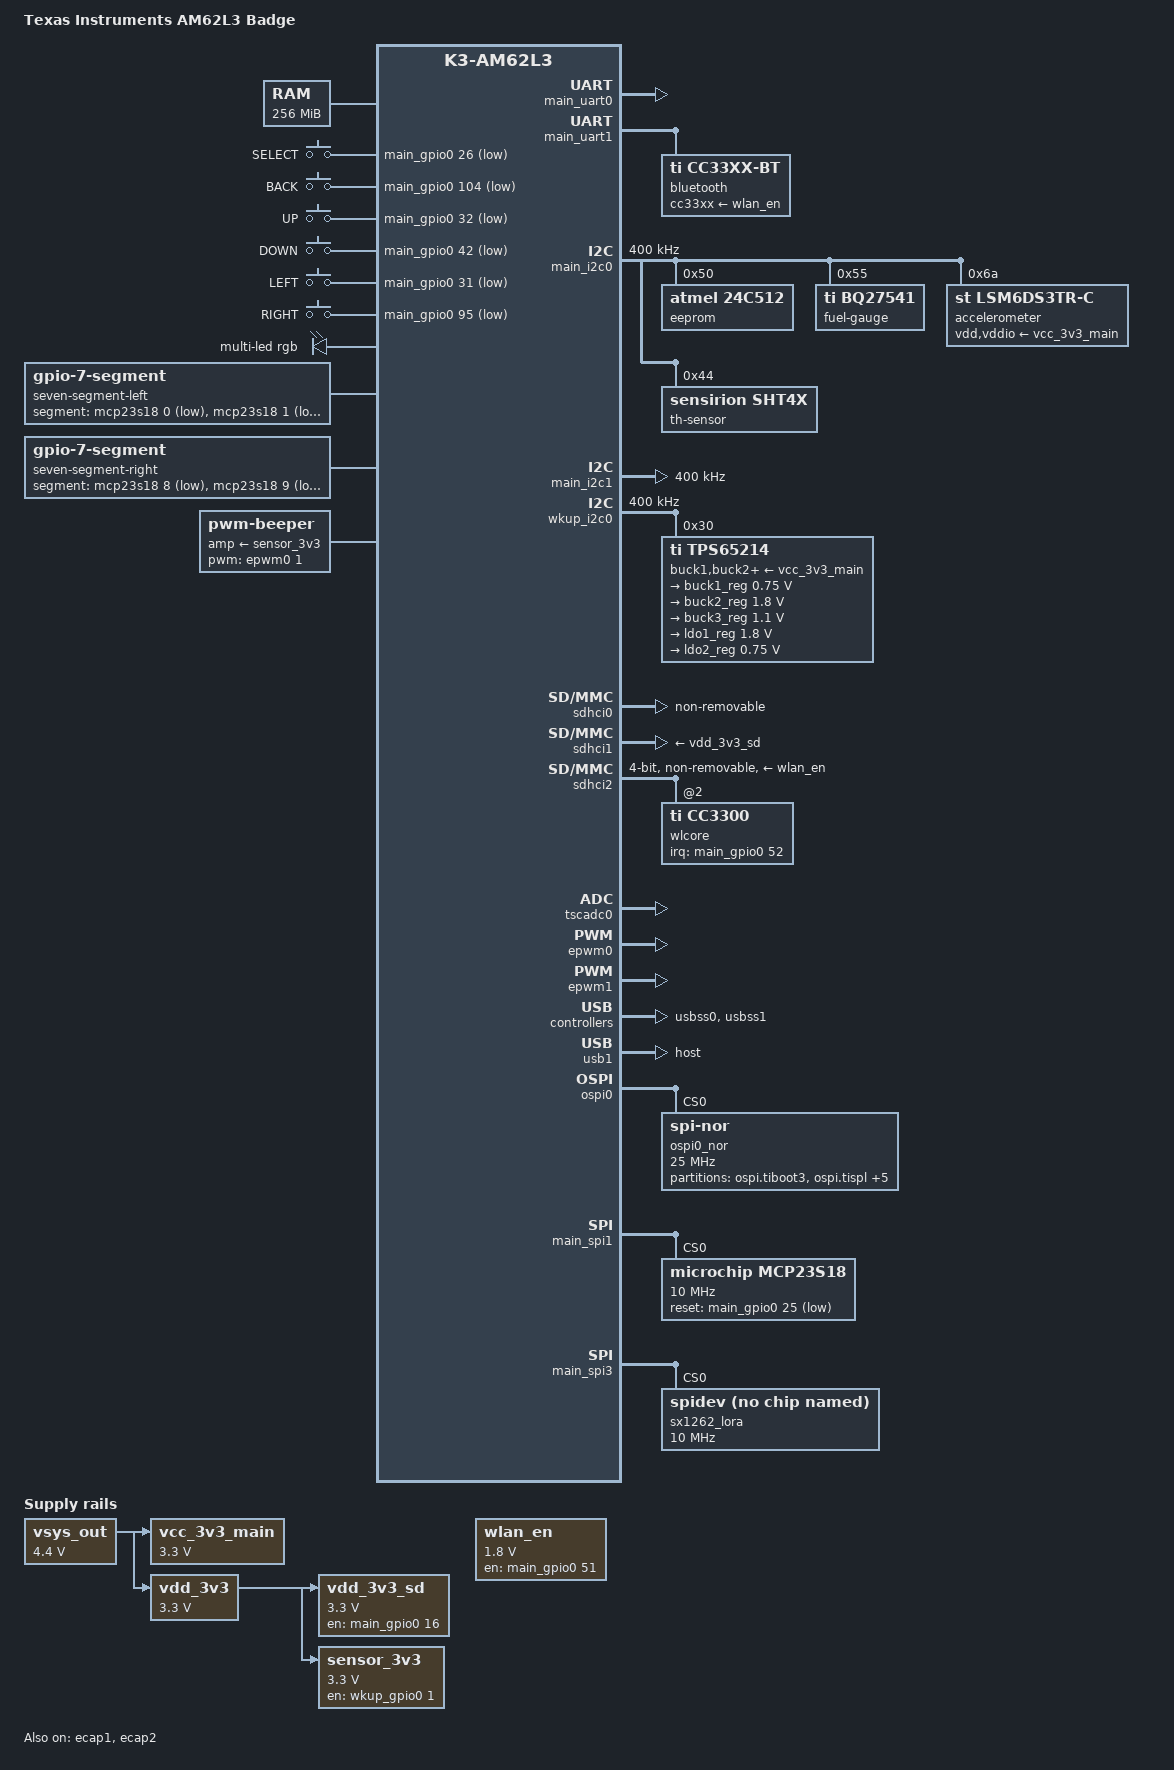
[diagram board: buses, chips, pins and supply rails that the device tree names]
// SPDX-License-Identifier: GPL-2.0-only or MIT
/*
 * Device Tree file for the AM62L3 Badge
 *
 * Copyright (C) 2025 Texas Instruments Incorporated - https://www.ti.com/
 */

/dts-v1/;

#include <dt-bindings/gpio/gpio.h>
#include <dt-bindings/input/input.h>
#include <dt-bindings/leds/common.h>
#include <dt-bindings/net/ti-dp83867.h>
#include "k3-am62l3.dtsi"
#include "k3-pinctrl.h"

/ {
	compatible = "ti,am62l3-badge", "ti,am62l3";
	model = "Texas Instruments AM62L3 Badge";

	chosen {
		stdout-path = &main_uart0;
		base_dtb = "k3-am62l3-badge.dts";
	};

	aliases {
		gpio0 = &main_gpio0;
		i2c0 = &main_i2c0;
		i2c1 = &main_i2c1;
		mmc0 = &sdhci0;
		mmc1 = &sdhci1;
		mmc2 = &sdhci2;
		serial3 = &main_uart1;
		usb0 = &usb0;
		usb1 = &usb1;
	};

	memory@80000000 {
		/* 256MB */
		reg = <0x00000000 0x80000000 0x00000000 0x10000000>;
		device_type = "memory";
		bootph-all;
	};

	gpio_keys: gpio-keys {
		compatible = "gpio-keys";
		autorepeat;
		pinctrl-names = "default";
		pinctrl-0 = <&main_usr_button_default_pins>;

		button-select {
			label = "SELECT";
			linux,code = <KEY_SELECT>;
			gpios = <&main_gpio0 26 GPIO_ACTIVE_LOW>;
		};

		button-back {
			label = "BACK";
			linux,code = <KEY_BACK>;
			gpios = <&main_gpio0 104 GPIO_ACTIVE_LOW>;
		};

		button-up {
			label = "UP";
			linux,code = <KEY_UP>;
			gpios = <&main_gpio0 32 GPIO_ACTIVE_LOW>;
		};

		button-down {
			label = "DOWN";
			linux,code = <KEY_DOWN>;
			gpios = <&main_gpio0 42 GPIO_ACTIVE_LOW>;
		};

		button-left {
			label = "LEFT";
			linux,code = <KEY_LEFT>;
			gpios = <&main_gpio0 31 GPIO_ACTIVE_LOW>;
		};

		button-right {
			label = "RIGHT";
			linux,code = <KEY_RIGHT>;
			gpios = <&main_gpio0 95 GPIO_ACTIVE_LOW>;
		};
	};

	multicolor-led {
		compatible = "pwm-leds-multicolor";
		pinctrl-names = "default";
		pinctrl-0 = <&rgb_led_default_pins>;

		multi-led {
			color = <LED_COLOR_ID_RGB>;
			max-brightness = <255>;

			led-red {
				pwms = <&ecap2 0 255 0>;
				color = <LED_COLOR_ID_RED>;
			};

			led-green {
				pwms = <&ecap1 0 255 0>;
				color = <LED_COLOR_ID_GREEN>;
			};

			led-blue {
				pwms = <&epwm1 1 255 0>;
				color = <LED_COLOR_ID_BLUE>;
			};
		};
	};

	seven-segment-left {
		compatible = "gpio-7-segment";
		segment-gpios = <&mcp23s18 0 GPIO_ACTIVE_LOW>,
				<&mcp23s18 1 GPIO_ACTIVE_LOW>,
				<&mcp23s18 2 GPIO_ACTIVE_LOW>,
				<&mcp23s18 3 GPIO_ACTIVE_LOW>,
				<&mcp23s18 4 GPIO_ACTIVE_LOW>,
				<&mcp23s18 5 GPIO_ACTIVE_LOW>,
				<&mcp23s18 6 GPIO_ACTIVE_LOW>,
				<&mcp23s18 7 GPIO_ACTIVE_LOW>;
	};

	seven-segment-right {
		compatible = "gpio-7-segment";
		segment-gpios = <&mcp23s18 8 GPIO_ACTIVE_LOW>,
				<&mcp23s18 9 GPIO_ACTIVE_LOW>,
				<&mcp23s18 10 GPIO_ACTIVE_LOW>,
				<&mcp23s18 11 GPIO_ACTIVE_LOW>,
				<&mcp23s18 12 GPIO_ACTIVE_LOW>,
				<&mcp23s18 13 GPIO_ACTIVE_LOW>,
				<&mcp23s18 14 GPIO_ACTIVE_LOW>,
				<&mcp23s18 15 GPIO_ACTIVE_LOW>;
	};

	pwm-beeper {
		compatible = "pwm-beeper";
		pinctrl-names = "default";
		pinctrl-0 = <&pwm_beeper_default_pins>;
		pwms = <&epwm0 1 1000000 0>;
		amp-supply = <&sensor_3v3>;
	};

	vsys_out: regulator-0 {
		/* output of BQ24070 */
		compatible = "regulator-fixed";
		regulator-name = "VSYS_OUT";
		regulator-min-microvolt = <4400000>;
		regulator-max-microvolt = <4400000>;
		regulator-always-on;
		regulator-boot-on;
		bootph-all;
	};

	vcc_3v3_main: regulator-1 {
		/* output of TPS62A06 */
		compatible = "regulator-fixed";
		regulator-name = "VCC_3V3_MAIN";
		regulator-min-microvolt = <3300000>;
		regulator-max-microvolt = <3300000>;
		vin-supply = <&vsys_out>;
		regulator-always-on;
		regulator-boot-on;
		bootph-all;
	};

	vdd_3v3: regulator-2 {
		/* output of TPS22965 */
		compatible = "regulator-fixed";
		regulator-name = "VDD_3V3";
		regulator-min-microvolt = <3300000>;
		regulator-max-microvolt = <3300000>;
		vin-supply = <&vsys_out>;
		regulator-always-on;
		regulator-boot-on;
		bootph-all;
	};

	vdd_3v3_sd: regulator-3 {
		/* TPS22918DBVR */
		compatible = "regulator-fixed";
		regulator-name = "VDD_3V3_SD";
		regulator-min-microvolt = <3300000>;
		regulator-max-microvolt = <3300000>;
		vin-supply = <&vdd_3v3>;
		regulator-boot-on;
		enable-active-high;
		gpio = <&main_gpio0 16 GPIO_ACTIVE_HIGH>;
		pinctrl-names = "default";
		pinctrl-0 = <&vdd_3v3_sd_ena_default_pins>;
		bootph-all;
	};

	sensor_3v3: regulator-4 {
		/* TPS22918DBVR */
		compatible = "regulator-fixed";
		regulator-name = "Sensor_3V3";
		regulator-min-microvolt = <3300000>;
		regulator-max-microvolt = <3300000>;
		vin-supply = <&vdd_3v3>;
		regulator-boot-on;
		regulator-always-on;
		enable-active-high;
		gpio = <&wkup_gpio0 1 GPIO_ACTIVE_HIGH>;
		pinctrl-names = "default";
		pinctrl-0 = <&sensor_3v3_ena_default_pins>;
		bootph-all;
	};

	wlan_en: regulator-5 {
		compatible = "regulator-fixed";
		regulator-name = "wlan_en";
		regulator-min-microvolt = <1800000>;
		regulator-max-microvolt = <1800000>;
		enable-active-high;
		gpios = <&main_gpio0 51 GPIO_ACTIVE_HIGH>;
		pinctrl-names = "default";
		pinctrl-0 = <&wlan_en_pins_default>;
	};
};

&pmx0 {
	main_uart0_default_pins: main-uart0-default-pins {
		pinctrl-single,pins = <
			AM62LX_IOPAD(0x01b8, PIN_OUTPUT, 0) /* (C13) UART0_TXD */
			AM62LX_IOPAD(0x01b4, PIN_INPUT, 0) /* (D13) UART0_RXD */
		>;
		bootph-all;
	};

	main_uart0_wakeup_pins: main-uart0-wakeup-pins {
		pinctrl-single,pins = <
			AM62LX_IOPAD(0x01b8, PIN_OUTPUT, 0) /* (C13) UART0_TXD */
			AM62LX_IOPAD(0x01b4, PIN_INPUT | PIN_WKUP_EN, 0) /* (D13) UART0_RXD */
		>;
	};

	main_uart1_default_pins: main-uart1-default-pins {
		pinctrl-single,pins = <
			AM62LX_IOPAD(0x019c, PIN_OUTPUT, 2) /* (A12) UART1_TXD */
			AM62LX_IOPAD(0x0198, PIN_INPUT, 2) /* (C11) UART1_RXD */
			AM62LX_IOPAD(0x0180, PIN_INPUT, 2) /* (A8) UART1_CTS */
			AM62LX_IOPAD(0x0184, PIN_OUTPUT, 2) /* (B10) UART1_RTS */
		>;
	};

	main_usr_button_default_pins: main-usr-button-default-pins {
		pinctrl-single,pins = <
			AM62LX_IOPAD(0x00a4, PIN_INPUT, 7) /* (H18) GPMC0_AD11.GPIO0_26 | SELECT */
			AM62LX_IOPAD(0x01e4, PIN_INPUT, 7) /* (D16) EXT_REFCLK1.GPIO0_104 | BACK*/
			AM62LX_IOPAD(0x00c0, PIN_INPUT, 7) /* (N19) GPMC0_ADVn_ALE.GPIO0_32 | UP */
			AM62LX_IOPAD(0x00e8, PIN_INPUT, 7) /* (L19) GPMC0_CSn1.GPIO0_42 | DOWN */
			AM62LX_IOPAD(0x00b8, PIN_INPUT, 7) /* (L21) GPMC0_CLK.GPIO0_31 | LEFT */
			AM62LX_IOPAD(0x01c0, PIN_INPUT, 7) /* (B13) UART0_RTSn.GPIO0_95 | RIGHT */
		>;
	};

	main_i2c0_default_pins: main-i2c0-default-pins {
		pinctrl-single,pins = <
			AM62LX_IOPAD(0x01cc, PIN_INPUT_PULLUP, 0) /* (B7) I2C0_SCL */
			AM62LX_IOPAD(0x01d0, PIN_INPUT_PULLUP, 0) /* (A7) I2C0_SDA */
		>;
	};

	main_i2c1_default_pins: main-i2c1-default-pins {
		pinctrl-single,pins = <
			AM62LX_IOPAD(0x01d4, PIN_INPUT_PULLUP, 0) /* (D7) I2C1_SCL */
			AM62LX_IOPAD(0x01d8, PIN_INPUT_PULLUP, 0) /* (A6) I2C1_SDA */
		>;
	};

	vdd_3v3_sd_ena_default_pins: vdd-3v3-sd-ena-default-pins {
		pinctrl-single,pins = <
			AM62LX_IOPAD(0x07c, PIN_OUTPUT, 7) /* (L23) GPMC0_AD1.GPIO0_16 */
		>;
		bootph-all;
	};

	sensor_3v3_ena_default_pins: sensor-3v3-ena-default-pins {
		pinctrl-single,pins = <
			AM62LX_IOPAD(0x004, PIN_OUTPUT, 7) /* (AA23) WKUP_UART0_TXD.WKUP_GPIO0_1 */
		>;
	};

	main_mmc0_default_pins: main-mmc0-default-pins {
		pinctrl-single,pins = <
			AM62LX_IOPAD(0x0214, PIN_INPUT, 0) /* (D2) MMC0_CMD */
			AM62LX_IOPAD(0x020c, PIN_OUTPUT, 0) /* (B2) MMC0_CLK */
			AM62LX_IOPAD(0x0208, PIN_INPUT, 0) /* (D3) MMC0_DAT0 */
			AM62LX_IOPAD(0x0204, PIN_INPUT_PULLUP, 0) /* (D4) MMC0_DAT1 */
			AM62LX_IOPAD(0x0200, PIN_INPUT_PULLUP, 0) /* (C1) MMC0_DAT2 */
			AM62LX_IOPAD(0x01fc, PIN_INPUT_PULLUP, 0) /* (C2) MMC0_DAT3 */
			AM62LX_IOPAD(0x01f8, PIN_INPUT_PULLUP, 0) /* (C4) MMC0_DAT4 */
			AM62LX_IOPAD(0x01f4, PIN_INPUT_PULLUP, 0) /* (B3) MMC0_DAT5 */
			AM62LX_IOPAD(0x01f0, PIN_INPUT_PULLUP, 0) /* (A3) MMC0_DAT6 */
			AM62LX_IOPAD(0x01ec, PIN_INPUT_PULLUP, 0) /* (B4) MMC0_DAT7 */
		>;
		bootph-all;
	};

	main_mmc1_default_pins: main-mmc1-default-pins {
		pinctrl-single,pins = <
			AM62LX_IOPAD(0x0230, PIN_INPUT, 0) /* (Y3) MMC1_CMD */
			AM62LX_IOPAD(0x0228, PIN_OUTPUT, 0) /* (Y2) MMC1_CLK */
			AM62LX_IOPAD(0x0224, PIN_INPUT, 0) /* (AA1) MMC1_DAT0 */
			AM62LX_IOPAD(0x0220, PIN_INPUT, 0) /* (Y4) MMC1_DAT1 */
			AM62LX_IOPAD(0x021c, PIN_INPUT, 0) /* (AA2) MMC1_DAT2 */
			AM62LX_IOPAD(0x0218, PIN_INPUT, 0) /* (AB2) MMC1_DAT3 */
			AM62LX_IOPAD(0x0234, PIN_INPUT, 0) /* (B6) MMC1_SDCD */
		>;
		bootph-all;
	};

	main_mmc2_pins_default: main-mmc2-default-pins {
		pinctrl-single,pins = <
			AM62LX_IOPAD(0x010c, PIN_INPUT, 0) /* (U23) MMC2_CMD */
			AM62LX_IOPAD(0x0104, PIN_OUTPUT, 0) /* (R23) MMC2_CLK */
			AM62LX_IOPAD(0x0108, PIN_INPUT, 0) /* () MMC2_CLKLB */
			AM62LX_IOPAD(0x0100, PIN_INPUT, 0) /* (U22) MMC2_DAT0 */
			AM62LX_IOPAD(0x00fc, PIN_INPUT, 0) /* (T22) MMC2_DAT1 */
			AM62LX_IOPAD(0x00f8, PIN_INPUT, 0) /* (T23) MMC2_DAT2 */
			AM62LX_IOPAD(0x00f4, PIN_INPUT, 0) /* (R22) MMC2_DAT3 */
		>;
	};

	wlan_en_pins_default: wlan-en-pins-default {
		pinctrl-single,pins = <
			AM62LX_IOPAD(0x0110, PIN_OUTPUT, 7) /* (T20) MMC2_SDCD.GPIO0_51 */
		>;
	};

	main_wlirq_pins_default: main-wlirq-pins-default {
		pinctrl-single,pins = <
			AM62LX_IOPAD(0x0114, PIN_INPUT, 7) /* (T21) MMC2_SDWP.GPIO0_52 */
		>;
	};

	main_usb1_default_pins: main-usb1-default-pins {
		pinctrl-single,pins = <
			AM62LX_IOPAD(0x0248, PIN_INPUT | PIN_DS_PULLUD_ENABLE | PIN_DS_PULL_UP, 0) /* (A5) USB1_DRVVBUS */
		>;
	};

	pwm_beeper_default_pins: pwm-beeper-default-pins {
		pinctrl-single,pins = <
			AM62LX_IOPAD(0x00b0, PIN_OUTPUT, 4) /* (F22) GPMC0_AD14.EHRPWM0_B */
		>;
	};

	pmic_irq_default_pins: pmic-irq-default-pins {
		pinctrl-single,pins = <
			AM62LX_IOPAD(0x01e8, PIN_INPUT, 0) /* (C8) EXTINTn */
		>;
	};

	wkup_i2c0_default_pins: wkup-i2c0-default-pins {
		pinctrl-single,pins = <
			AM62LX_IOPAD(0x0010, PIN_INPUT_PULLUP, 0) /* (AB22) WKUP_I2C0_SCL */
			AM62LX_IOPAD(0x0014, PIN_INPUT_PULLUP, 0) /* (AA22) WKUP_I2C0_SDA */
		>;
	};

	rgb_led_default_pins: rgb-led-default-pins {
		pinctrl-single,pins = <
			AM62LX_IOPAD(0x0190, PIN_OUTPUT, 2) /* (A11) MCASP0_ACLKX.ECAP2_IN_APWM_OUT */
			AM62LX_IOPAD(0x0188, PIN_OUTPUT, 2) /* (A9) MCASP0_AXR1.ECAP1_IN_APWM_OUT */
			AM62LX_IOPAD(0x018c, PIN_OUTPUT, 5) /* (B9) MCASP0_AXR0.EHRPWM1_B */
		>;
	};

	ospi0_pins_default: ospi0-default-pins {
		bootph-all;
		pinctrl-single,pins = <
			AM62LX_IOPAD(0x003c, PIN_OUTPUT, 0) /* (D22) OSPI0_CLK */
			AM62LX_IOPAD(0x0068, PIN_OUTPUT, 0) /* (C20) OSPI0_CSn0 */
			AM62LX_IOPAD(0x0074, PIN_OUTPUT, 0) /* (C23) OSPI0_CSn3 */
			AM62LX_IOPAD(0x0048, PIN_INPUT, 0) /* (C22) OSPI0_D0 */
			AM62LX_IOPAD(0x004c, PIN_INPUT, 0) /* (D21) OSPI0_D1 */
			AM62LX_IOPAD(0x0050, PIN_INPUT, 0) /* (E23) OSPI0_D2 */
			AM62LX_IOPAD(0x0054, PIN_INPUT, 0) /* (D23) OSPI0_D3 */
			AM62LX_IOPAD(0x0058, PIN_INPUT, 0) /* (F21) OSPI0_D4 */
			AM62LX_IOPAD(0x005c, PIN_INPUT, 0) /* (F19) OSPI0_D5 */
			AM62LX_IOPAD(0x0060, PIN_INPUT, 0) /* (G20) OSPI0_D6 */
			AM62LX_IOPAD(0x0064, PIN_INPUT, 0) /* (F20) OSPI0_D7 */
			AM62LX_IOPAD(0x0044, PIN_INPUT, 0) /* (E22) OSPI0_DQS */
			AM62LX_IOPAD(0x0040, PIN_INPUT, 0) /* (E18) OSPI0_LBCLKO */
		>;
	};

	main_spi1_pins_default: main-spi1-default-pins {
		pinctrl-single,pins = <
			AM62LX_IOPAD(0x008c, PIN_OUTPUT, 4) /* (H22) GPMC0_AD5.SPI1_CLK */
			AM62LX_IOPAD(0x0088, PIN_OUTPUT, 4) /* (K23) GPMC0_AD4.SPI1_CS0 */
			AM62LX_IOPAD(0x0080, PIN_INPUT, 4) /* (K22) GPMC0_AD2.SPI1_D0 */
			AM62LX_IOPAD(0x0084, PIN_OUTPUT, 4) /* (J23) GPMC0_AD3.SPI1_D1 */
		>;
	};

	main_spi3_pins_default: main-spi3-default-pins {
		pinctrl-single,pins = <
			AM62LX_IOPAD(0x00d0, PIN_OUTPUT, 5) /* (P22) GPMC0_BE1n.SPI3_CLK */
			AM62LX_IOPAD(0x00cc, PIN_OUTPUT, 5) /* (P23) GPMC0_BE0n_CLE.SPI3_CS0 */
			AM62LX_IOPAD(0x00d4, PIN_INPUT, 5) /* (N23) GPMC0_WAIT0.SPI3_D0 */
			AM62LX_IOPAD(0x00d8, PIN_OUTPUT, 5) /* (N22) GPMC0_WAIT1.SPI3_D1 */
		>;
	};

	mcp23s18_reset_pins_default: mcp23s18-reset-default-pins {
		pinctrl-single,pins = <
			AM62LX_IOPAD(0x00a0, PIN_OUTPUT, 4) /* (H21) GPMC0_AD10.GPIO0_25 */
		>;
	};

	lora_control_pins_default: lora-control-default-pins {
		pinctrl-single,pins = <
			AM62LX_IOPAD(0x00c8, PIN_OUTPUT, 7) /* (M19) GPMC0_WEn.GPIO0_34 | RESET */
			AM62LX_IOPAD(0x00e4, PIN_OUTPUT, 7) /* (L20) GPMC0_CSn0.GPIO0_41 | RF SW */
			AM62LX_IOPAD(0x01a4, PIN_INPUT, 7) /* (D11) SPI0_CS1.GPIO0_88 | BUSY */
			AM62LX_IOPAD(0x01bc, PIN_INPUT, 7) /* (B14) UART0_CTSn.GPIO0_94 | DIO (IRQ) */
		>;
	};
};

&main_uart0 {
	status = "okay";
	pinctrl-names = "default", "wakeup";
	pinctrl-0 = <&main_uart0_default_pins>;
	pinctrl-1 = <&main_uart0_wakeup_pins>;
	wakeup-source  = <&system_deep_sleep>;
	bootph-all;
};

&main_uart1 {
	status = "okay";
	pinctrl-names = "default";
	pinctrl-0 = <&main_uart1_default_pins>;
	bootph-all;

	bluetooth {
		compatible = "ti,cc33xx-bt";
		cc33xx-supply = <&wlan_en>;
		max-speed = <115200>;
	};
};

&main_i2c0 {
	status = "okay";
	pinctrl-names = "default";
	pinctrl-0 = <&main_i2c0_default_pins>;
	clock-frequency = <400000>;
	bootph-all;

	/* EEPROM */
	eeprom@50 {
		/* FT24C32A-ELRT */
		compatible = "atmel,24c512";
		reg = <0x50>;
	};

	/* Fuel Gauge */
	/* Todo: Add BQ27220 support */
	fuel-gauge@55 {
		compatible = "ti,bq27541";
		reg = <0x55>;
	};

	/* IMU Sensor */
	accelerometer@6a {
		compatible = "st,lsm6ds3tr-c";
		reg = <0x6a>;
		vdd-supply = <&vcc_3v3_main>;
		vddio-supply = <&vcc_3v3_main>;
	};

	/* T&H Sensor */
	th-sensor@44 {
		compatible = "sensirion,sht4x";
		reg = <0x44>;
	};
};

&main_i2c1 {
	pinctrl-names = "default";
	pinctrl-0 = <&main_i2c1_default_pins>;
	clock-frequency = <400000>;
	bootph-all;
};

&wkup_i2c0 {
	clock-frequency = <400000>;
	pinctrl-names = "default";
	pinctrl-0 = <&wkup_i2c0_default_pins>;
	status = "okay";

	tps65214: pmic@30 {
		compatible = "ti,tps65214";
		reg = <0x30>;
		interrupt-parent = <&gic500>;
		interrupts = <GIC_SPI 224 IRQ_TYPE_LEVEL_HIGH>;
		pinctrl-names = "default";
		pinctrl-0 = <&pmic_irq_default_pins>;
		ti,power-button;

		buck1-supply = <&vcc_3v3_main>;
		buck2-supply = <&vcc_3v3_main>;
		buck3-supply = <&vcc_3v3_main>;
		ldo1-supply = <&vcc_3v3_main>;
		ldo2-supply = <&vcc_3v3_main>;

		regulators {
			buck1_reg: buck1 {
				regulator-name = "VDD_CORE";
				regulator-min-microvolt = <750000>;
				regulator-max-microvolt = <750000>;
				regulator-always-on;
				regulator-boot-on;
			};

			buck2_reg: buck2 {
				regulator-name = "VDD_1V8";
				regulator-min-microvolt = <1800000>;
				regulator-max-microvolt = <1800000>;
				regulator-always-on;
				regulator-boot-on;
			};

			buck3_reg: buck3 {
				regulator-name = "VDD_LPDDR4";
				regulator-min-microvolt = <1100000>;
				regulator-max-microvolt = <1100000>;
				regulator-always-on;
				regulator-boot-on;
			};

			ldo1_reg: ldo1 {
				regulator-name = "VDDA_1V8";
				regulator-min-microvolt = <1800000>;
				regulator-max-microvolt = <1800000>;
				regulator-always-on;
				regulator-boot-on;
			};

			ldo2_reg: ldo2 {
				regulator-name = "PMIC_VDD_RTC";
				regulator-min-microvolt = <750000>;
				regulator-max-microvolt = <750000>;
				regulator-always-on;
				regulator-boot-on;
			};
		};
	};
};

&main_gpio0 {
	pinctrl-names = "default";
	pinctrl-0 = <&lora_control_pins_default>;
	status = "okay";
	bootph-all;
	gpio-line-names ="","","","","","","","","","", //GPIO0_0->9
			 "","","","","","","vdd_3v3_sd_ena","","","", //GPIO0_10->19
			 "","","","","","mcp23s18_reset","button_select","","","", //GPIO0_20->29
			 "","button_left","button_up","","lora_reset","","","","","", //GPIO0_30->39
			 "","lora_rfsw","button_down","","","","","","","", //GPIO0_40->49
			 "","wlan_ena","","","","","","","","", //GPIO0_50->59
			 "","","","","","","","","","", //GPIO0_60->69
			 "","","","","","","","","","", //GPIO0_70->79
			 "","","","","","","","","lora_busy","", //GPIO0_80->89
			 "","","","","lora_dio","button_right","","","","", //GPIO0_90->99
			 "","","","","button_back","","","","",""; //GPIO0_100->109
};

&main_gpio2 {
	status = "okay";
	bootph-all;
};

&wkup_gpio0 {
	status = "okay";

	gpio-line-names ="","sensor_3v3_ena","","","","","",""; //GPIO0_0->7
};

&sdhci0 {
	/* eMMC */
	non-removable;
	pinctrl-names = "default";
	pinctrl-0 = <&main_mmc0_default_pins>;
	status = "okay";
	bootph-all;
};

&sdhci1 {
	/* SD/MMC */
	vmmc-supply = <&vdd_3v3_sd>;
	pinctrl-names = "default";
	pinctrl-0 = <&main_mmc1_default_pins>;
	disable-wp;
	status = "okay";
	bootph-all;
};

&sdhci2 {
	vmmc-supply = <&wlan_en>;
	pinctrl-names = "default";
	pinctrl-0 = <&main_mmc2_pins_default>;
	bus-width = <4>;
	non-removable;
	ti,fails-without-test-cd;
	cap-power-off-card;
	keep-power-in-suspend;
	ti,driver-strength-ohm = <50>;
	#address-cells = <1>;
	#size-cells = <0>;
	status = "okay";

	wlcore: wlcore@2 {
		compatible = "ti,cc3300";
		reg = <2>;
		pinctrl-names = "default";
		pinctrl-0 = <&main_wlirq_pins_default>;
		interrupt-parent = <&main_gpio0>;
		interrupts = <52 IRQ_TYPE_EDGE_RISING>;
	};
};

&tscadc0 {
	status = "okay";

	adc {
	ti,adc-channels = <0 /* V20 (Battery) */
			   1 /* V22 (MikroBus) */
			   2 /* V23 (Light Sensor) */
			   3 /* V21 (J28 Header) */
			   >;
	};
};

&epwm0 {
	/* Used for PWM Beeper */
	status = "okay";
};

&epwm1 {
	/* Used for RGB LED */
	status = "okay";
};

&ecap1 {
	/* Used for RGB LED */
	status = "okay";
};

&ecap2 {
	/* Used for RGB LED */
	status = "okay";
};

&usbss0 {
	ti,vbus-divider;
	status = "okay";
};

&usb0 {
	usb-role-switch;
};

&usbss1 {
	ti,vbus-divider;
	status = "okay";
	bootph-all;
};

&usb1 {
	dr_mode = "host";
	pinctrl-names = "default";
	pinctrl-0 = <&main_usb1_default_pins>;
	bootph-all;
};

&ospi0 {
	bootph-all;
	status = "okay";
	pinctrl-names = "default";
	pinctrl-0 = <&ospi0_pins_default>;

	ospi0_nor: flash@0 {
		bootph-all;
		compatible = "jedec,spi-nor";
		reg = <0x0>;
		spi-tx-bus-width = <8>;
		spi-rx-bus-width = <8>;
		spi-max-frequency = <25000000>;
		cdns,tshsl-ns = <60>;
		cdns,tsd2d-ns = <60>;
		cdns,tchsh-ns = <60>;
		cdns,tslch-ns = <60>;
		cdns,read-delay = <4>;
		cdns,phy-mode;

		partitions {
			bootph-all;
			compatible = "fixed-partitions";
			#address-cells = <1>;
			#size-cells = <1>;

			partition@0 {
				label = "ospi.tiboot3";
				reg = <0x0 0x80000>;
			};

			partition@80000 {
				label = "ospi.tispl";
				reg = <0x80000 0x200000>;
			};

			partition@280000 {
				label = "ospi.u-boot";
				reg = <0x280000 0x400000>;
			};

			partition@680000 {
				label = "ospi.env";
				reg = <0x680000 0x40000>;
			};

			partition@6c0000 {
				label = "ospi.env.backup";
				reg = <0x6c0000 0x40000>;
			};

			partition@800000 {
				label = "ospi.rootfs";
				/* Limited to 20 MB */
				reg = <0x700000 0x18c0000>;
			};

			partition@3fc0000 {
				bootph-all;
				label = "ospi.phypattern";
				reg = <0x1fc0000 0x40000>;
			};
		};
	};
};

&main_spi1 {
	pinctrl-names = "default";
	pinctrl-0 = <&main_spi1_pins_default>;
	status = "okay";

	mcp23s18: gpio@0 {
		compatible = "microchip,mcp23s18";
		pinctrl-names = "default";
		pinctrl-0 = <&mcp23s18_reset_pins_default>;
		reg = <0>;
		spi-max-frequency = <10000000>;
		gpio-controller;
		#gpio-cells = <2>;
		microchip,spi-present-mask = <0x01>;
		reset-gpios = <&main_gpio0 25 GPIO_ACTIVE_LOW>;
	};
};

&main_spi3 {
	pinctrl-names = "default";
	pinctrl-0 = <&main_spi3_pins_default>;
	status = "okay";

	sx1262_lora: lora@0 {
		compatible = "rohm,dh2228fv";
		reg = <0>;
		spi-max-frequency = <10000000>;
	};
};
